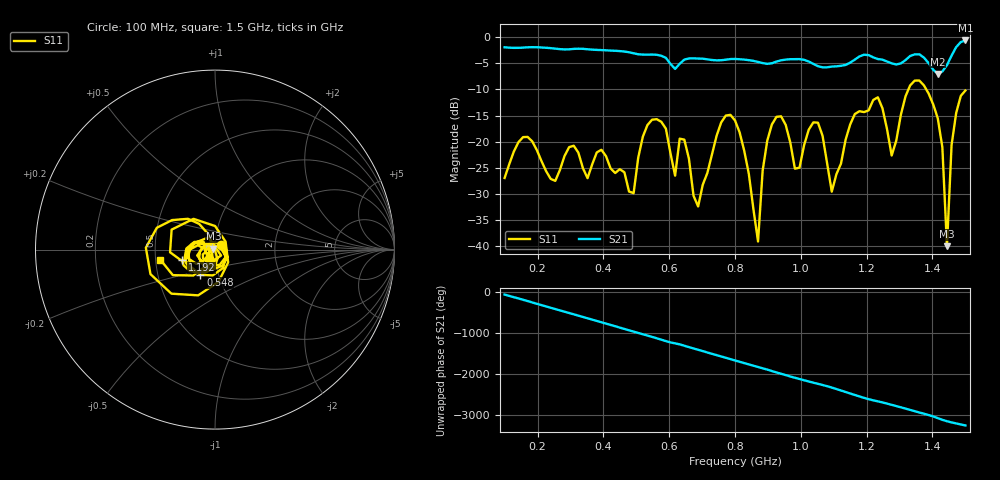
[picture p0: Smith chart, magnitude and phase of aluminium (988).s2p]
! NanoVNA-App
! Date: 2025-09-25 15:02:58
! Start: 100MHz Stop: 1,5GHz Points: 101
! S-Parameter data: F S11 S21 S12 S22
# Hz S RI R 50
!  Frequency  S11_Real  S11_Imag  S21_Real  S21_Imag  S12_Real  S12_Imag  S22_Real  S22_Imag
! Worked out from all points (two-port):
!   101 points, 100 MHz to 1.5 GHz, reference 50 ohm
!   highest |S21| = -0.61 dB at 1.5 GHz (marker M1); lowest = -7.0 dB at 1.416 GHz (marker M2)
!   |S21| within 3 dB of the highest: start of sweep to 578.4 MHz; 1.457 GHz to end of sweep (the widest 2 of 4)
!   lowest |S11| = -40.0 dB at 1.444 GHz (marker M3), VSWR 1.02, Z = 49.1 + j0.447 ohm
!   |S11| at or under -10 dB: start of sweep to 1.327 GHz; 1.381 GHz to end of sweep
!   S12 and S22 are empty: the file has one direction only
!   S11 on the Smith chart (normalised r, x): 100 MHz: 1.07, +0.06; 548 MHz: 0.82, -0.24; 1.192 GHz: 0.69, -0.08; 1.5 GHz: 0.53, -0.07
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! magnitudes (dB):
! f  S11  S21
! 100 MHz  -27.0  -1.9
! 156 MHz  -19.1  -2.0
! 338 MHz  -25.1  -2.2
! 492 MHz  -29.9  -3.1
! 548 MHz  -15.8  -3.3
! 576 MHz  -16.2  -3.5
! 646 MHz  -19.6  -4.3
! 688 MHz  -32.4  -4.1
! 800 MHz  -15.9  -4.1
! 870 MHz  -39.1  -4.7
! 912 MHz  -16.7  -5.0
! 982 MHz  -25.2  -4.2
! 1.038 GHz  -16.3  -5.1
! 1.094 GHz  -29.6  -5.6
! 1.192 GHz  -14.3  -3.3
! 1.234 GHz  -11.5  -4.2
! 1.276 GHz  -22.6  -5.0
! 1.346 GHz  -8.3  -3.3
! 1.416 GHz  -15.5  -7.0
! 1.444 GHz  -40.0  -5.3
! 1.458 GHz  -20.7  -3.5
! 1.5 GHz  -10.2  -0.6
